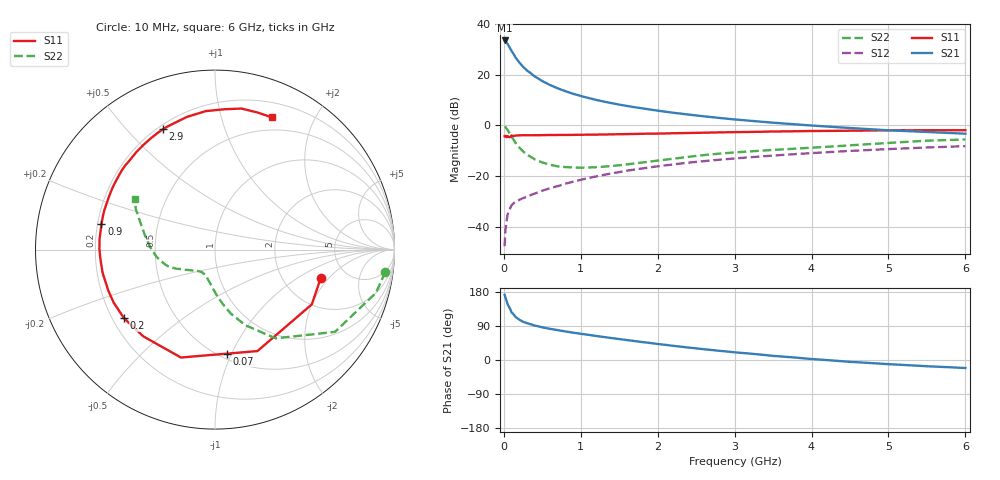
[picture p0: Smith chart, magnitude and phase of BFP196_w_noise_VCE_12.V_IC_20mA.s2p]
! (c) 2017  Infineon Technologies AG, Munich
! Infineon Technologies  Discrete & RF Semiconductors
! BFP196
! VCE =  12. V,  IC =  20 mA
! Common Emitter S-Parameters:  Jan 2017
# GHz  S  MA  R  50
!  f  S11  S21  S12  S22
! GHz  MAG  ANG  MAG  ANG  MAG  ANG  MAG  ANG
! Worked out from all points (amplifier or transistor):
!   77 points, 10 MHz to 6 GHz, reference 50 ohm
!   highest |S21| = 33.5 dB at 10 MHz (marker M1)
!   |S21| within 3 dB of that: start of sweep to 78.95 MHz
!   unconditionally stable (mu >= 1): 817.2 MHz to 2.382 GHz
!   at 130 MHz: K = 0.37, MSG = 29.3 dB, |S12| = -30.7 dB
!   at 2.2 GHz: K = 1.02, MAG = 9.5 dB, |S12| = -15.5 dB
!   at 6 GHz: K = 0.91, MSG = 2.5 dB, |S12| = -8.2 dB
!   lowest NFmin = 1.10 dB at 450 MHz
!   S11 on the Smith chart (normalised r, x): 10 MHz: 3.23, -1.64; 70 MHz: 0.55, -0.96; 200 MHz: 0.25, -0.32; 900 MHz: 0.22, +0.11; 2.9 GHz: 0.22, +0.63; 6 GHz: 0.35, +1.46
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0.01  0.6101 -15.1  47.54 172.1  0.0041 71.0  0.957 -7.5
0.02  0.6197 -29.5  46.86 165.1  0.0084 71.6  0.9282 -15.1
0.05  0.6128 -67.3  40.38 146.2  0.0174 60.2  0.8108 -34.4
0.07  0.5835 -83.5  35.6 139.5  0.0208 54.5  0.7152 -41.4
0.1  0.6305 -107.5  29.69 125.8  0.0262 48.8  0.5991 -55.6
0.15  0.6271 -129.6  22.22 114.0  0.0312 44.9  0.4552 -68.0
0.2  0.6351 -143.0  17.54 106.5  0.0335 43.6  0.3664 -76.2
0.25  0.6371 -152.4  14.38 100.9  0.0365 43.9  0.3065 -81.8
0.3  0.6369 -158.8  12.15 97.1  0.039 45.5  0.2644 -86.7
0.4  0.6393 -168.1  9.285 90.9  0.0448 48.2  0.2136 -93.7
0.5  0.6407 -175.1  7.471 86.2  0.0513 50.9  0.1845 -99.3
0.6  0.644 179.6  6.27 82.2  0.0572 53.5  0.1668 -104.6
0.7  0.6458 175.2  5.387 78.8  0.0629 55.3  0.1547 -108.8
0.9  0.6483 167.3  4.204 72.2  0.0769 56.6  0.1475 -116.2
1.1  0.6545 160.5  3.468 66.4  0.091 57.7  0.147 -122.6
1.5  0.6677 148.3  2.568 55.3  0.1193 56.2  0.1626 -134.5
2.1  0.6919 131.6  1.862 40.0  0.1618 51.5  0.2098 -148.2
2.9  0.7298 113.4  1.354 22.4  0.2155 43.2  0.2839 -162.1
3.1  0.7372 109.5  1.27 18.6  0.2278 41.0  0.2986 -165.9
4.1  0.7743 92.3  0.97 1.2  0.2885 30.0  0.369 175.5
5.1  0.7988 78.1  0.786 -12.0  0.3447 18.6  0.4588 157.6
6  0.8016 66.8  0.684 -21.2  0.3885 8.3  0.5264 147.5
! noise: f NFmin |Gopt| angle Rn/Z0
0.45  1.1  0.34  159  0.05
0.9  1.3  0.47  179  0.06
1.9  2.2  0.68  -137  0.24
2.4  2.65  0.72  -122  0.59
